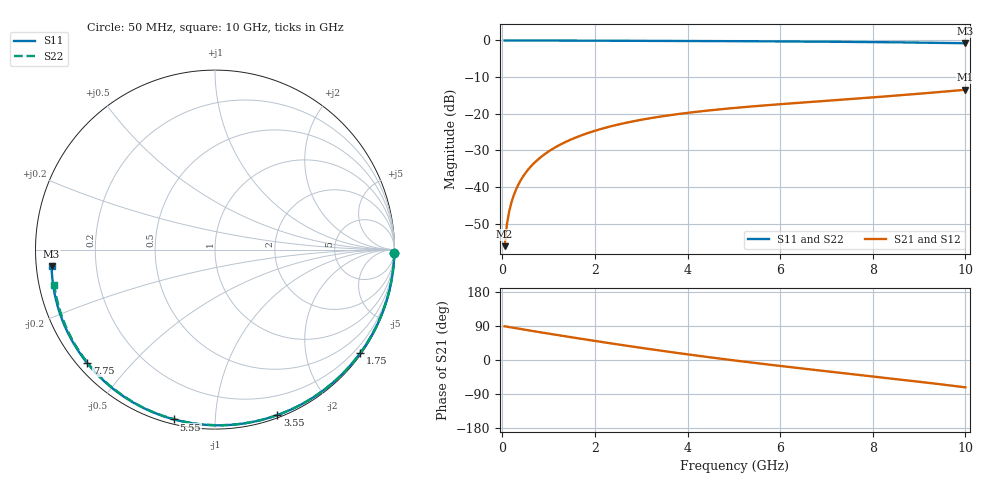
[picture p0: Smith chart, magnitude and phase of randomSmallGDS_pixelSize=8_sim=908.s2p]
! freq	dB(S11)	phase(S11)	dB(S12)	phase(S12)
!  dB(S21)	phase(S21)	dB(S22)	phase(S22)
!S-par simulation data
#  GHz  S  DB  R 50
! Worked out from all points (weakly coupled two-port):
!   200 points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, 50 MHz to 10 GHz, reference 50 ohm
!   highest |S21| = -13.46 dB at 10 GHz (marker M1); lowest = -56.1 dB at 50 MHz (marker M2)
!   lowest |S11| = -0.8 dB at 10 GHz (marker M3), VSWR 22.61, Z = 2.22 - j2.55 ohm
!   |S11| at or under -10 dB: nowhere
!   |S22| runs from -0.8 to 0.0 dB; largest |S21 - S12| = 0
!   S11 on the Smith chart (normalised r, x): 50 MHz: open; 1.75 GHz: 0.04, -3.13; 3.55 GHz: 0.02, -1.45; 5.55 GHz: 0.02, -0.79; 7.75 GHz: 0.03, -0.38; 10 GHz: 0.04, -0.05
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0.05  -0.01 -1.0  -56.11 89.0  -56.11 89.0  -0.01 -1.0
0.1  -0.01 -2.1  -50.09 87.9  -50.09 87.9  -0.01 -2.0
0.15  -0.01 -3.1  -46.57 86.9  -46.57 86.9  -0.01 -3.0
0.2  -0.01 -4.1  -44.08 85.8  -44.08 85.8  -0.01 -4.0
0.25  -0.01 -5.1  -42.14 84.8  -42.14 84.8  -0.01 -5.0
0.35  -0.01 -7.2  -39.23 82.7  -39.23 82.7  -0.01 -6.9
0.5  -0.01 -10.3  -36.16 79.6  -36.16 79.6  -0.01 -9.9
0.7  -0.02 -14.3  -33.29 75.6  -33.29 75.6  -0.02 -13.8
1  -0.03 -20.4  -30.28 69.6  -30.28 69.6  -0.03 -19.7
1.35  -0.04 -27.5  -27.79 62.7  -27.79 62.7  -0.04 -26.5
1.75  -0.06 -35.4  -25.69 55.1  -25.69 55.1  -0.05 -34.2
2.6  -0.09 -51.8  -22.66 39.2  -22.66 39.2  -0.09 -50.1
3.4  -0.12 -66.6  -20.79 25.0  -20.79 25.0  -0.12 -64.4
3.55  -0.13 -69.4  -20.51 22.4  -20.51 22.4  -0.13 -67.1
4.3  -0.16 -82.6  -19.31 10.0  -19.31 10.0  -0.16 -79.9
5.05  -0.20 -95.4  -18.37 -1.7  -18.37 -1.7  -0.20 -92.3
5.55  -0.23 -103.6  -17.84 -9.2  -17.84 -9.2  -0.23 -100.2
6.7  -0.32 -122.0  -16.74 -25.5  -16.74 -25.5  -0.31 -118.0
7.75  -0.42 -138.3  -15.77 -39.9  -15.77 -39.9  -0.41 -133.7
8.35  -0.50 -147.7  -15.19 -48.2  -15.19 -48.2  -0.49 -142.6
9.2  -0.62 -161.1  -14.33 -60.2  -14.33 -60.2  -0.61 -155.3
10  -0.77 -174.1  -13.46 -72.1  -13.46 -72.1  -0.75 -167.5
